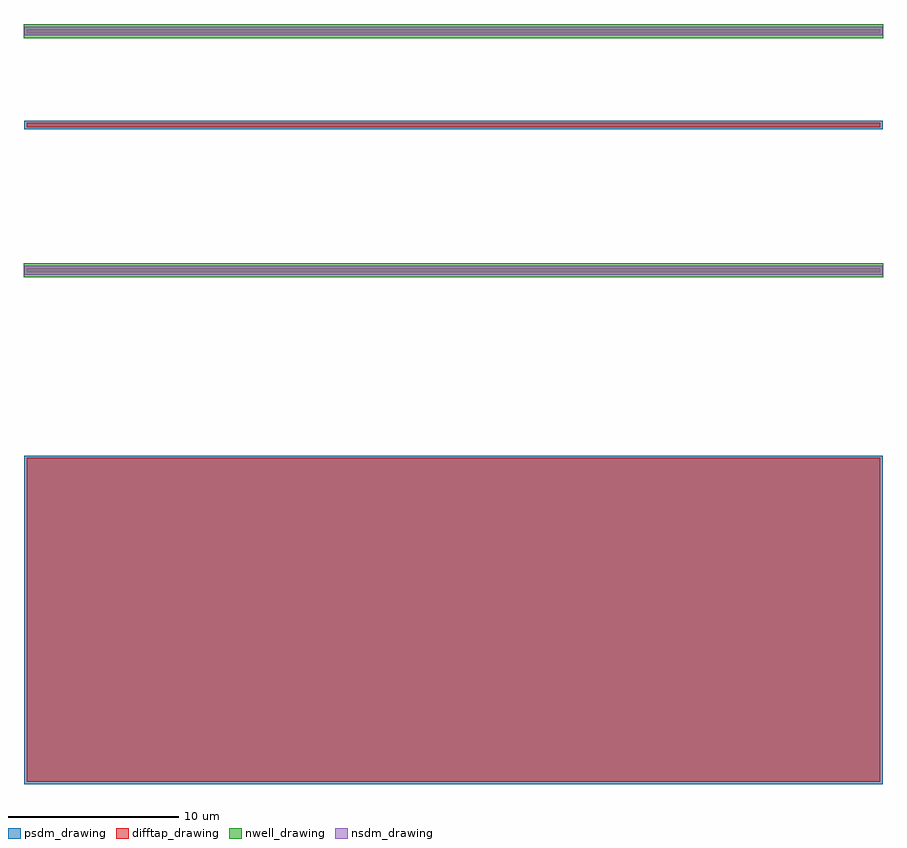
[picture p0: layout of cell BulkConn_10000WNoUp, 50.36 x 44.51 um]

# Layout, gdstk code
import gdstk
lib = gdstk.Library(unit=1e-6, precision=1e-09)
def R(c, l, rs):  # rectangles x0, y0, x1, y1
    for r in rs: c.add(gdstk.rectangle(r[:2], r[2:], *l))
nwell_drawing = (64, 20)
difftap_drawing = (65, 20)
nsdm_drawing = (93, 44)
psdm_drawing = (94, 20)

bulkconn_10000wnoup = lib.new_cell('BulkConn_10000WNoUp')
R(bulkconn_10000wnoup, nwell_drawing, [(-0.18,-0.42,50.18,0.42), (-0.18,13.58,50.18,14.42)])
R(bulkconn_10000wnoup, difftap_drawing, [(0,-29.96,50,-10.975), (0,-0.125,50,0.125), (0,8.375,50,8.625), (0,13.875,50,14.125)])
R(bulkconn_10000wnoup, nsdm_drawing, [(-0.125,-0.25,50.125,0.25), (-0.125,13.75,50.125,14.25)])
R(bulkconn_10000wnoup, psdm_drawing, [(-0.125,-30.085,50.125,-10.85), (-0.125,8.25,50.125,8.75)])

lib.write_gds('BulkConn_10000WNoUp.gds')
